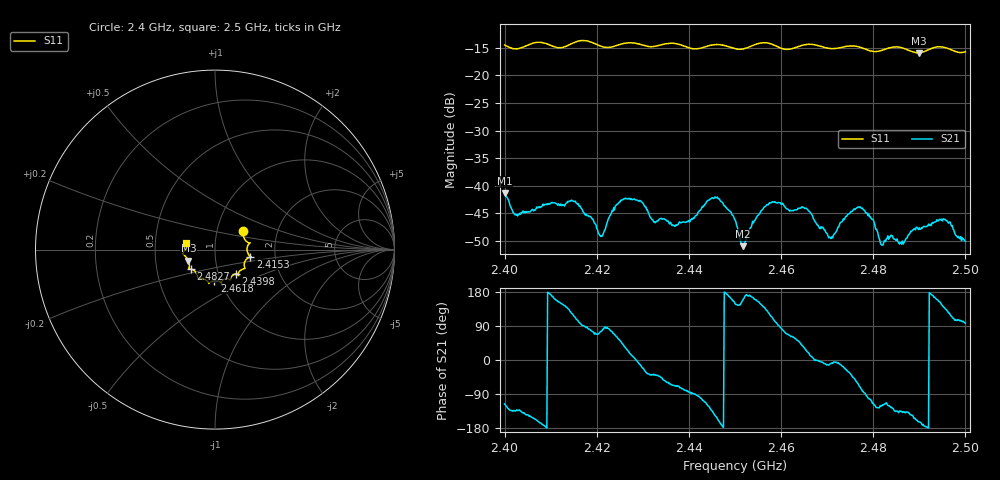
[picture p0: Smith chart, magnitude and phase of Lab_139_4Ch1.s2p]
# Hz S RI R 50
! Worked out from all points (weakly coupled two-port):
!   601 points, 2.4 GHz to 2.5 GHz, reference 50 ohm
!   highest |S21| = -41.37 dB at 2.4 GHz (marker M1); lowest = -51.0 dB at 2.4517 GHz (marker M2)
!   lowest |S11| = -15.9 dB at 2.4898 GHz (marker M3), VSWR 1.38, Z = 36.9 - j4.63 ohm
!   |S11| at or under -10 dB: start of sweep to end of sweep
!   S12 and S22 are empty: the file has one direction only
!   S11 on the Smith chart (normalised r, x): 2.4 GHz: 1.33, +0.29; 2.4153 GHz: 1.48, -0.12; 2.4398 GHz: 1.21, -0.34; 2.4618 GHz: 0.94, -0.33; 2.4827 GHz: 0.75, -0.17; 2.5 GHz: 0.72, +0.06
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2.4e9  0.1556 0.1064  -0.00372 -0.00768  0 0  0 0
2.402667e9  0.162 0.0636  -0.00363 -0.0041  0 0  0 0
2.415333e9  0.1966 -0.0391  -0.00272 0.00674  0 0  0 0
2.416667e9  0.2024 -0.0433  -0.000303 0.00623  0 0  0 0
2.420833e9  0.1769 -0.0518  0.00088 0.00335  0 0  0 0
2.426e9  0.1667 -0.1016  0.00623 0.0044  0 0  0 0
2.433333e9  0.13 -0.1336  0.00357 -0.00322  0 0  0 0
2.439833e9  0.1158 -0.1359  0.000599 -0.0047  0 0  0 0
2.445667e9  0.0841 -0.1706  -0.00661 -0.00437  0 0  0 0
2.45e9  0.0653 -0.1623  -0.00417 0.00254  0 0  0 0
2.451667e9  0.0474 -0.1665  -0.00262 0.00108  0 0  0 0
2.457e9  0.0391 -0.1929  -0.00429 0.00522  0 0  0 0
2.461833e9  -0.00348 -0.1728  0.00248 0.00534  0 0  0 0
2.466667e9  -0.0347 -0.1879  0.00541 0.000836  0 0  0 0
2.470833e9  -0.0567 -0.1653  0.00328 -0.000542  0 0  0 0
2.477167e9  -0.0969 -0.1515  0.00201 -0.00612  0 0  0 0
2.482667e9  -0.1348 -0.1087  -0.00129 -0.00283  0 0  0 0
2.483333e9  -0.1399 -0.1085  -0.00168 -0.00281  0 0  0 0
2.486167e9  -0.1453 -0.1031  -0.00211 -0.00207  0 0  0 0
2.489833e9  -0.148 -0.0611  -0.00383 -0.00118  0 0  0 0
2.495667e9  -0.1775 -0.0172  -0.00346 0.00353  0 0  0 0
2.5e9  -0.1592 0.0385  -0.000409 0.00309  0 0  0 0
